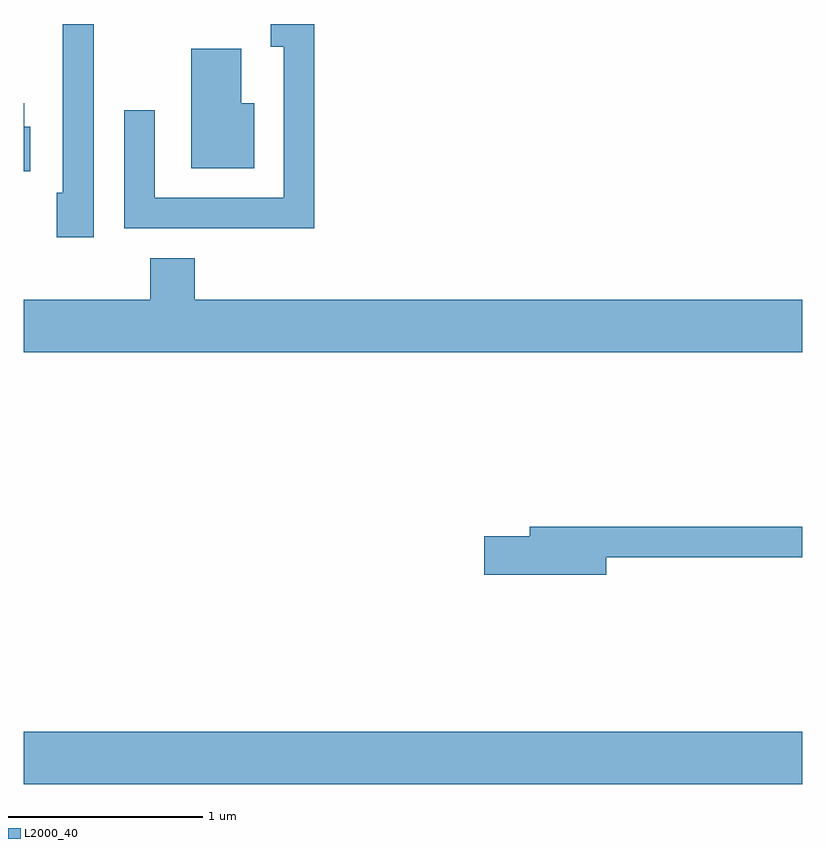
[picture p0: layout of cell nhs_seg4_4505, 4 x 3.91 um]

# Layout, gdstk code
import gdstk
lib = gdstk.Library(unit=1e-6, precision=1e-09)
def R(c, l, rs):  # rectangles x0, y0, x1, y1
    for r in rs: c.add(gdstk.rectangle(r[:2], r[2:], *l))
def P(c, l, *ps):  # polygons
    for p in ps: c.add(gdstk.Polygon(p, *l))
L2000_40 = (2000, 40)

nhs_seg4_4505 = lib.new_cell('nhs_seg4_4505')
R(nhs_seg4_4505, L2000_40, [(317.611,1288.076,321.611,1288.344)])
P(nhs_seg4_4505, L2000_40, [(319.104,1291.982),(318.881,1291.982),(318.881,1291.866),(318.946,1291.866),(318.946,1291.089),(318.284,1291.089),(318.284,1291.538),(318.126,1291.538),(318.126,1290.931),(319.104,1290.931)],
  [(317.969,1291.982),(317.811,1291.982),(317.811,1291.114),(317.781,1291.114),(317.781,1290.886),(317.969,1290.886)],
  [(318.794,1291.574),(318.729,1291.574),(318.729,1291.854),(318.471,1291.854),(318.471,1291.241),(318.794,1291.241)],
  [(317.644,1291.454),(317.614,1291.454),(317.614,1291.574),(317.611,1291.574),(317.611,1291.226),(317.644,1291.226)],
  [(321.611,1290.564),(318.489,1290.564),(318.489,1290.779),(318.261,1290.779),(318.261,1290.564),(317.611,1290.564),(317.611,1290.296),(321.611,1290.296)],
  [(320.604,1289.241),(321.611,1289.241),(321.611,1289.399),(320.211,1289.399),(320.211,1289.349),(319.976,1289.349),(319.976,1289.151),(320.604,1289.151)])

lib.write_gds('nhs_seg4_4505.gds')
